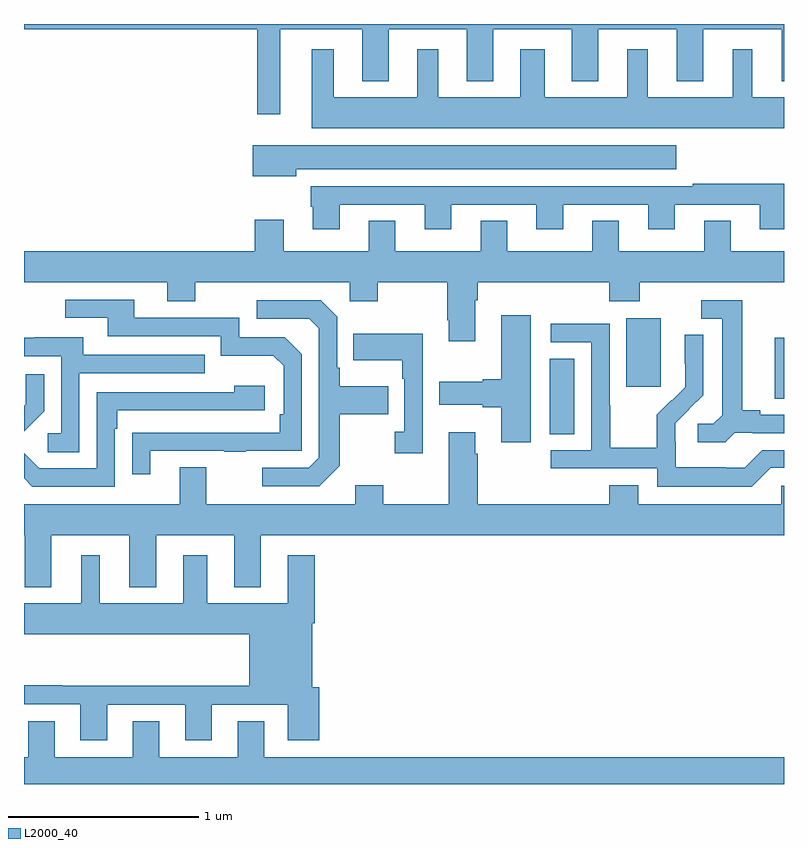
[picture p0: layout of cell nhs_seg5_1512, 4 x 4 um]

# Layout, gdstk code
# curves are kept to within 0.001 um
import gdstk
lib = gdstk.Library(unit=1e-6, precision=1e-09)
def R(c, l, rs):  # rectangles x0, y0, x1, y1
    for r in rs: c.add(gdstk.rectangle(r[:2], r[2:], *l))
def P(c, l, *ps):  # polygons
    for p in ps: c.add(gdstk.Polygon(p, *l))
L2000_40 = (2000, 40)

nhs_seg5_1512 = lib.new_cell('nhs_seg5_1512')
R(nhs_seg5_1512, L2000_40, [(205.766,842.641,205.897,843.038), (206.951,842.827,207,843.147), (206.171,842.889,206.35,843.25)])
P(nhs_seg5_1512, L2000_40, [(204.349,844.772),(204.779,844.772),(204.779,844.499),(204.919,844.499),(204.919,844.772),(205.331,844.772),(205.331,844.499),(205.471,844.499),(205.471,844.772),(205.883,844.772),(205.883,844.499),(206.023,844.499),(206.023,844.772),(206.435,844.772),(206.435,844.499),(206.575,844.499),(206.575,844.772),(206.987,844.772),(206.987,844.499),(207,844.499),(207,844.799),(203,844.799),(203,844.772),(204.228,844.772),(204.228,844.323),(204.349,844.323)],
  [(207,844.414),(206.833,844.414),(206.833,844.666),(206.729,844.666),(206.729,844.414),(206.284,844.414),(206.284,844.666),(206.174,844.666),(206.174,844.414),(205.741,844.414),(205.741,844.666),(205.613,844.666),(205.613,844.414),(205.18,844.414),(205.18,844.666),(205.07,844.666),(205.07,844.414),(204.631,844.414),(204.631,844.666),(204.515,844.666),(204.515,844.25),(207,844.25)],
  [(204.433,844.034),(206.434,844.034),(206.434,844.162),(204.204,844.162),(204.204,843.998),(204.433,843.998)],
  [(204.661,843.849),(205.109,843.849),(205.109,843.72),(205.249,843.72),(205.249,843.849),(205.697,843.849),(205.697,843.72),(205.837,843.72),(205.837,843.849),(206.285,843.849),(206.285,843.72),(206.425,843.72),(206.425,843.849),(206.873,843.849),(206.873,843.72),(207,843.72),(207,843.958),(206.521,843.958),(206.521,843.945),(204.509,843.945),(204.509,843.837),(204.521,843.837),(204.521,843.72),(204.661,843.72)],
  [(205.375,843.344),(205.388,843.344),(205.388,843.44),(206.081,843.44),(206.081,843.341),(206.241,843.341),(206.241,843.44),(207,843.44),(207,843.604),(206.719,843.604),(206.719,843.764),(206.579,843.764),(206.579,843.604),(206.131,843.604),(206.131,843.764),(205.991,843.764),(205.991,843.604),(205.543,843.604),(205.543,843.764),(205.403,843.764),(205.403,843.604),(204.955,843.604),(204.955,843.764),(204.815,843.764),(204.815,843.604),(204.367,843.604),(204.367,843.769),(204.215,843.769),(204.215,843.604),(203,843.604),(203,843.44),(203.753,843.44),(203.753,843.341),(203.901,843.341),(203.901,843.44),(204.714,843.44),(204.714,843.341),(204.861,843.341),(204.861,843.44),(205.228,843.44),(205.228,843.241),(205.235,843.241),(205.235,843.129),(205.375,843.129)],
  [(203.665,842.553),(204.055,842.553),(204.055,842.548),(204.167,842.548),(204.167,842.553),(204.462,842.553),(204.462,843.06),(204.372,843.15),(204.132,843.15),(204.132,843.252),(203.581,843.252),(203.581,843.348),(203.217,843.348),(203.217,843.252),(203.441,843.252),(203.441,843.156),(204.036,843.156),(204.036,843.053),(204.313,843.053),(204.366,843),(204.366,842.746),(204.346,842.746),(204.346,842.649),(203.569,842.648),(203.569,842.43),(203.665,842.43)],
  [(204.661,842.473),(204.661,842.746),(204.917,842.746),(204.917,842.893),(204.661,842.893),(204.661,842.989),(204.648,842.989),(204.648,843.258),(204.561,843.345),(204.225,843.345),(204.225,843.249),(204.501,843.249),(204.552,843.198),(204.552,842.517),(204.498,842.463),(204.255,842.463),(204.255,842.367),(204.555,842.367)],
  [(206.742,842.649),(206.836,842.649),(206.836,842.646),(207,842.646),(207,842.742),(206.875,842.742),(206.875,842.765),(206.779,842.765),(206.779,843.345),(206.565,843.345),(206.565,843.249),(206.675,843.249),(206.675,842.741),(206.628,842.694),(206.547,842.694),(206.547,842.597),(206.69,842.597)],
  [(205.666,843.265),(205.511,843.265),(205.511,842.93),(205.415,842.93),(205.415,842.917),(205.185,842.917),(205.185,842.795),(205.415,842.795),(205.415,842.783),(205.511,842.783),(205.511,842.598),(205.666,842.598)],
  [(206.931,842.463),(207,842.463),(207,842.556),(206.886,842.556),(206.793,842.463),(206.693,842.463),(206.693,842.467),(206.43,842.467),(206.43,842.601),(206.428,842.601),(206.428,842.698),(206.574,842.846),(206.574,843.164),(206.478,843.164),(206.478,843.01),(206.48,843.01),(206.48,842.888),(206.409,842.817),(206.406,842.82),(206.329,842.743),(206.329,842.569),(206.085,842.569),(206.085,842.792),(206.082,842.792),(206.082,843.222),(205.773,843.222),(205.773,843.123),(205.986,843.123),(205.986,842.556),(205.773,842.556),(205.773,842.46),(206.334,842.46),(206.334,842.363),(206.831,842.363)],
  [(205.098,843.169),(204.733,843.169),(204.733,843.029),(204.99,843.029),(204.99,842.933),(205.002,842.933),(205.002,842.654),(204.951,842.654),(204.951,842.541),(205.098,842.541)],
  [(203.292,842.961),(203.951,842.961),(203.951,843.057),(203.311,843.057),(203.311,843.151),(203.057,843.151),(203.057,843.147),(203,843.147),(203,843.051),(203.196,843.051),(203.196,842.646),(203.124,842.646),(203.124,842.545),(203.292,842.545)],
  [(203.106,842.762),(203.106,842.956),(203.009,842.956),(203.009,842.799),(203,842.79),(203,842.656)],
  [(203.478,842.669),(203.491,842.669),(203.491,842.766),(204.268,842.766),(204.268,842.896),(204.107,842.896),(204.107,842.862),(203.382,842.862),(203.382,842.46),(203.079,842.46),(203,842.539),(203,842.407),(203.043,842.364),(203.478,842.364)],
  [(203.143,842.108),(203.555,842.108),(203.555,841.835),(203.695,841.835),(203.695,842.108),(204.107,842.108),(204.107,841.835),(204.247,841.835),(204.247,842.108),(207,842.108),(207,842.37),(206.985,842.37),(206.985,842.272),(206.233,842.272),(206.233,842.371),(206.081,842.371),(206.081,842.272),(205.388,842.272),(205.388,842.537),(205.375,842.537),(205.375,842.65),(205.235,842.65),(205.235,842.272),(204.891,842.272),(204.891,842.371),(204.743,842.371),(204.743,842.272),(203.959,842.272),(203.959,842.467),(203.819,842.467),(203.819,842.272),(203,842.272),(203,842.108),(203.003,842.108),(203.003,841.835),(203.143,841.835)],
  [(203.437,841.215),(203.849,841.215),(203.849,841.029),(203.989,841.029),(203.989,841.215),(204.389,841.215),(204.389,841.029),(204.554,841.029),(204.554,841.308),(204.517,841.308),(204.517,841.646),(204.53,841.646),(204.53,842.002),(204.389,842.002),(204.389,841.75),(203.965,841.75),(203.965,842.002),(203.837,842.002),(203.837,841.75),(203.398,841.75),(203.398,842.002),(203.3,842.002),(203.3,841.75),(203,841.75),(203,841.586),(204.185,841.586),(204.185,841.316),(203.201,841.316),(203.201,841.319),(203,841.319),(203,841.218),(203.297,841.218),(203.297,841.029),(203.437,841.029)],
  [(207,840.94),(204.265,840.94),(204.265,841.13),(204.125,841.13),(204.125,840.94),(203.713,840.94),(203.713,841.13),(203.573,841.13),(203.573,840.94),(203.161,840.94),(203.161,841.13),(203.022,841.13),(203.022,840.94),(203,840.94),(203,840.799),(207,840.799)])

lib.write_gds('nhs_seg5_1512.gds')
